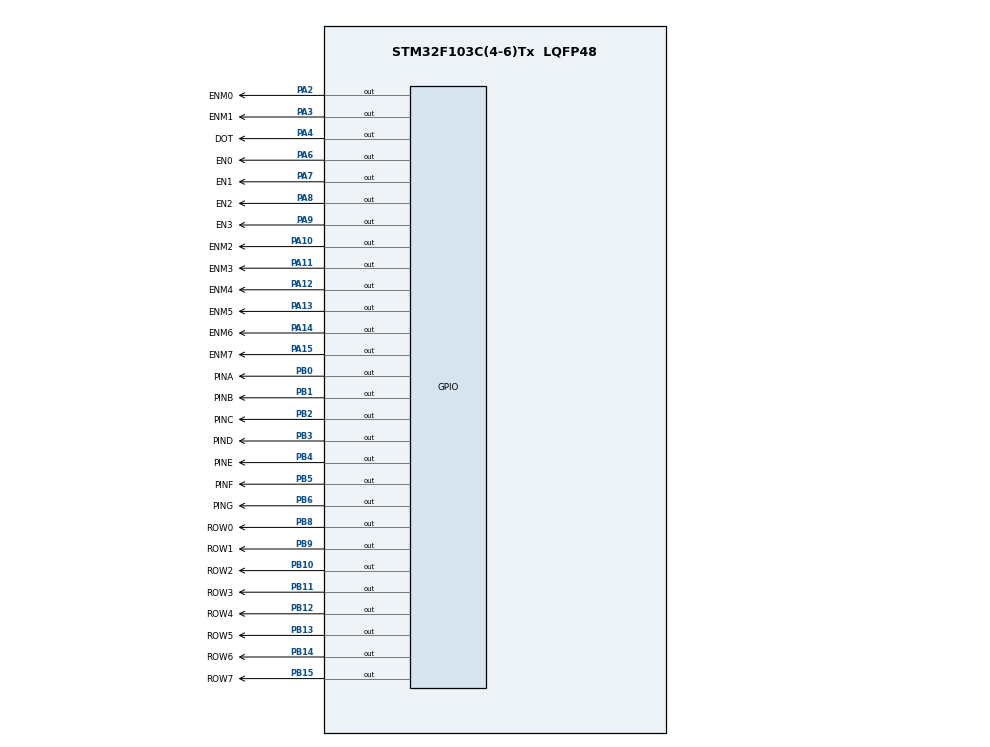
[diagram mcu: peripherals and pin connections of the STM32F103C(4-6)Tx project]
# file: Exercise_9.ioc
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Mcu.Family=STM32F1
Mcu.Name=STM32F103C(4-6)Tx
Mcu.Package=LQFP48
NVIC.PriorityGroup=NVIC_PRIORITYGROUP_4
NVIC.TIM2_IRQn=true\:0\:0\:false\:false\:true\:true\:true\:true
PA10.GPIO_Label=ENM2
PA10.Signal=GPIO_Output
PA11.GPIO_Label=ENM3
PA11.Signal=GPIO_Output
PA12.GPIO_Label=ENM4
PA12.Signal=GPIO_Output
PA13.GPIO_Label=ENM5
PA13.Signal=GPIO_Output
PA14.GPIO_Label=ENM6
PA14.Signal=GPIO_Output
PA15.GPIO_Label=ENM7
PA15.Signal=GPIO_Output
PA2.GPIO_Label=ENM0
PA2.Signal=GPIO_Output
PA3.GPIO_Label=ENM1
PA3.Signal=GPIO_Output
PA4.GPIO_Label=DOT
PA4.Signal=GPIO_Output
PA6.GPIO_Label=EN0
PA6.Signal=GPIO_Output
PA7.GPIO_Label=EN1
PA7.Signal=GPIO_Output
PA8.GPIO_Label=EN2
PA8.Signal=GPIO_Output
PA9.GPIO_Label=EN3
PA9.Signal=GPIO_Output
PB0.GPIO_Label=PINA
PB0.Signal=GPIO_Output
PB1.GPIO_Label=PINB
PB1.Signal=GPIO_Output
PB10.GPIO_Label=ROW2
PB10.Signal=GPIO_Output
PB11.GPIO_Label=ROW3
PB11.Signal=GPIO_Output
PB12.GPIO_Label=ROW4
PB12.Signal=GPIO_Output
PB13.GPIO_Label=ROW5
PB13.Signal=GPIO_Output
PB14.GPIO_Label=ROW6
PB14.Signal=GPIO_Output
PB15.GPIO_Label=ROW7
PB15.Signal=GPIO_Output
PB2.GPIO_Label=PINC
PB2.Signal=GPIO_Output
PB3.GPIO_Label=PIND
PB3.Signal=GPIO_Output
PB4.GPIO_Label=PINE
PB4.Signal=GPIO_Output
PB5.GPIO_Label=PINF
PB5.Signal=GPIO_Output
PB6.GPIO_Label=PING
PB6.Signal=GPIO_Output
PB8.GPIO_Label=ROW0
PB8.Signal=GPIO_Output
PB9.GPIO_Label=ROW1
PB9.Signal=GPIO_Output
ProjectManager.HeapSize=0x200
ProjectManager.StackSize=0x400
ProjectManager.TargetToolchain=STM32CubeIDE
RCC.APB1Freq_Value=8000000
RCC.APB2Freq_Value=8000000
TIM2.Period=9
TIM2.Prescaler=7999
VP_SYS_VS_ND.Mode=No_Debug
VP_TIM2_VS_ClockSourceINT.Mode=Internal
board=custom

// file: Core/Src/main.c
/* USER CODE BEGIN Header */
/**
  ******************************************************************************
  * @file           : main.c
  * @brief          : Main program body
  ******************************************************************************
  * @attention
  *
  * Copyright (c) 2024 STMicroelectronics.
  * All rights reserved.
  *
  * This software is licensed under terms that can be found in the LICENSE file
  * in the root directory of this software component.
  * If no LICENSE file comes with this software, it is provided AS-IS.
  *
  ******************************************************************************
  */
/* USER CODE END Header */
#include "main.h"

/* USER CODE BEGIN Includes */
#include "Blinky_7SEG.h"
/* USER CODE END Includes */

/* USER CODE BEGIN PD */
#define CLOCK 2
/* USER CODE END PD */

TIM_HandleTypeDef htim2;

void SystemClock_Config(void);
static void MX_GPIO_Init(void);
static void MX_TIM2_Init(void);

/* USER CODE BEGIN 0 */
uint8_t matrix[3][8] = {
	{
		0b00111100,
	    0b01100110,
	    0b01100110,
	    0b01111110,
	    0b01111110,
	    0b01100110,
	    0b01100110,
	    0b01100110
	},{
		0b01111100,
		0b10000100,
		0b10000100,
		0b01111100,
		0b01111100,
		0b10000100,
		0b10000100,
		0b01111100
	},{
		0b01111000,
		0b10000100,
		0b00000100,
		0b00000100,
		0b00000100,
		0b00000100,
		0b10000100,
		0b01111000
	}
};
void setRow(int index){
	HAL_GPIO_WritePin(ROW0_GPIO_Port, ROW0_Pin, SET);
	HAL_GPIO_WritePin(ROW1_GPIO_Port, ROW1_Pin, SET);
	HAL_GPIO_WritePin(ROW2_GPIO_Port, ROW2_Pin, SET);
	HAL_GPIO_WritePin(ROW3_GPIO_Port, ROW3_Pin, SET);
	HAL_GPIO_WritePin(ROW4_GPIO_Port, ROW4_Pin, SET);
	HAL_GPIO_WritePin(ROW5_GPIO_Port, ROW5_Pin, SET);
	HAL_GPIO_WritePin(ROW6_GPIO_Port, ROW6_Pin, SET);
	HAL_GPIO_WritePin(ROW7_GPIO_Port, ROW7_Pin, SET);
	switch (index){
	case 0:
		HAL_GPIO_WritePin(ROW0_GPIO_Port, ROW0_Pin, RESET);
		break;
	case 1:
		HAL_GPIO_WritePin(ROW1_GPIO_Port, ROW1_Pin, RESET);
		break;
	case 2:
		HAL_GPIO_WritePin(ROW2_GPIO_Port, ROW2_Pin, RESET);
		break;
	case 3:
		HAL_GPIO_WritePin(ROW3_GPIO_Port, ROW3_Pin, RESET);
		break;
	case 4:
		HAL_GPIO_WritePin(ROW4_GPIO_Port, ROW4_Pin, RESET);
		break;
	case 5:
		HAL_GPIO_WritePin(ROW5_GPIO_Port, ROW5_Pin, RESET);
		break;
	case 6:
		HAL_GPIO_WritePin(ROW6_GPIO_Port, ROW6_Pin, RESET);
		break;
	case 7:
		HAL_GPIO_WritePin(ROW7_GPIO_Port, ROW7_Pin, RESET);
		break;
	default:
		break;
	}
}

void setCol(uint8_t colData){
	HAL_GPIO_WritePin(ENM0_GPIO_Port, ENM0_Pin, (colData & 0x01) ? RESET : SET);
	HAL_GPIO_WritePin(ENM1_GPIO_Port, ENM1_Pin, (colData & 0x02) ? RESET : SET);
	HAL_GPIO_WritePin(ENM2_GPIO_Port, ENM2_Pin, (colData & 0x04) ? RESET : SET);
	HAL_GPIO_WritePin(ENM3_GPIO_Port, ENM3_Pin, (colData & 0x08) ? RESET : SET);
	HAL_GPIO_WritePin(ENM4_GPIO_Port, ENM4_Pin, (colData & 0x10) ? RESET : SET);
	HAL_GPIO_WritePin(ENM5_GPIO_Port, ENM5_Pin, (colData & 0x20) ? RESET : SET);
	HAL_GPIO_WritePin(ENM6_GPIO_Port, ENM6_Pin, (colData & 0x40) ? RESET : SET);
	HAL_GPIO_WritePin(ENM7_GPIO_Port, ENM7_Pin, (colData & 0x80) ? RESET : SET);
}
void updateLedMatrix(){
    static int k = 0, i = 0, j = 0;

    if(flag[0]){
        setTime(2, 0);
        if(flag[1]){
            setTime(2, 1);
            setRow(j);
            setCol(matrix[k][j] >> i);
            j = (j + 1) % 8;
            if(j == 0){
                i = (i + 1) % 8;
                if(i == 0){
                    k = (k + 1) % 3;
                }
            }
        }
    }
}
/* USER CODE END 0 */

int main(void)
{

  /* MCU Configuration--------------------------------------------------------*/

  /* Reset of all peripherals, Initializes the Flash interface and the Systick. */
  HAL_Init();

  /* Configure the system clock */
  SystemClock_Config();

  /* Initialize all configured peripherals */
  MX_GPIO_Init();
  MX_TIM2_Init();
  /* USER CODE BEGIN 2 */
  HAL_TIM_Base_Start_IT(&htim2);
  /* USER CODE END 2 */

  /* Infinite loop */
  /* USER CODE BEGIN WHILE */
  while (1)
  {
	  updateLedMatrix();
    /* USER CODE END WHILE */

  }
}

void SystemClock_Config(void)
{
  RCC_OscInitTypeDef RCC_OscInitStruct = {0};
  RCC_ClkInitTypeDef RCC_ClkInitStruct = {0};

  /** Initializes the RCC Oscillators according to the specified parameters
  * in the RCC_OscInitTypeDef structure.
  */
  RCC_OscInitStruct.OscillatorType = RCC_OSCILLATORTYPE_HSI;
  RCC_OscInitStruct.HSIState = RCC_HSI_ON;
  RCC_OscInitStruct.HSICalibrationValue = RCC_HSICALIBRATION_DEFAULT;
  RCC_OscInitStruct.PLL.PLLState = RCC_PLL_NONE;
  if (HAL_RCC_OscConfig(&RCC_OscInitStruct) != HAL_OK)
  {
    Error_Handler();
  }

  /** Initializes the CPU, AHB and APB buses clocks
  */
  RCC_ClkInitStruct.ClockType = RCC_CLOCKTYPE_HCLK|RCC_CLOCKTYPE_SYSCLK
                              |RCC_CLOCKTYPE_PCLK1|RCC_CLOCKTYPE_PCLK2;
  RCC_ClkInitStruct.SYSCLKSource = RCC_SYSCLKSOURCE_HSI;
  RCC_ClkInitStruct.AHBCLKDivider = RCC_SYSCLK_DIV1;
  RCC_ClkInitStruct.APB1CLKDivider = RCC_HCLK_DIV1;
  RCC_ClkInitStruct.APB2CLKDivider = RCC_HCLK_DIV1;

  if (HAL_RCC_ClockConfig(&RCC_ClkInitStruct, FLASH_LATENCY_0) != HAL_OK)
  {
    Error_Handler();
  }
}

static void MX_TIM2_Init(void)
{

  TIM_ClockConfigTypeDef sClockSourceConfig = {0};
  TIM_MasterConfigTypeDef sMasterConfig = {0};

  htim2.Instance = TIM2;
  htim2.Init.Prescaler = 7999;
  htim2.Init.CounterMode = TIM_COUNTERMODE_UP;
  htim2.Init.Period = 9;
  htim2.Init.ClockDivision = TIM_CLOCKDIVISION_DIV1;
  htim2.Init.AutoReloadPreload = TIM_AUTORELOAD_PRELOAD_DISABLE;
  if (HAL_TIM_Base_Init(&htim2) != HAL_OK)
  {
    Error_Handler();
  }
  sClockSourceConfig.ClockSource = TIM_CLOCKSOURCE_INTERNAL;
  if (HAL_TIM_ConfigClockSource(&htim2, &sClockSourceConfig) != HAL_OK)
  {
    Error_Handler();
  }
  sMasterConfig.MasterOutputTrigger = TIM_TRGO_RESET;
  sMasterConfig.MasterSlaveMode = TIM_MASTERSLAVEMODE_DISABLE;
  if (HAL_TIMEx_MasterConfigSynchronization(&htim2, &sMasterConfig) != HAL_OK)
  {
    Error_Handler();
  }

}

static void MX_GPIO_Init(void)
{
  GPIO_InitTypeDef GPIO_InitStruct = {0};

  /* GPIO Ports Clock Enable */
  __HAL_RCC_GPIOA_CLK_ENABLE();
  __HAL_RCC_GPIOB_CLK_ENABLE();

  /*Configure GPIO pin Output Level */
  HAL_GPIO_WritePin(GPIOA, ENM0_Pin|ENM1_Pin|DOT_Pin|EN0_Pin
                          |EN1_Pin|EN2_Pin|EN3_Pin|ENM2_Pin
                          |ENM3_Pin|ENM4_Pin|ENM5_Pin|ENM6_Pin
                          |ENM7_Pin, GPIO_PIN_RESET);

  /*Configure GPIO pin Output Level */
  HAL_GPIO_WritePin(GPIOB, PINA_Pin|PINB_Pin|PINC_Pin|ROW2_Pin
                          |ROW3_Pin|ROW4_Pin|ROW5_Pin|ROW6_Pin
                          |ROW7_Pin|PIND_Pin|PINE_Pin|PINF_Pin
                          |PING_Pin|ROW0_Pin|ROW1_Pin, GPIO_PIN_RESET);

  /*Configure GPIO pins : ENM0_Pin ENM1_Pin DOT_Pin EN0_Pin
                           EN1_Pin EN2_Pin EN3_Pin ENM2_Pin
                           ENM3_Pin ENM4_Pin ENM5_Pin ENM6_Pin
                           ENM7_Pin */
  GPIO_InitStruct.Pin = ENM0_Pin|ENM1_Pin|DOT_Pin|EN0_Pin
                          |EN1_Pin|EN2_Pin|EN3_Pin|ENM2_Pin
                          |ENM3_Pin|ENM4_Pin|ENM5_Pin|ENM6_Pin
                          |ENM7_Pin;
  GPIO_InitStruct.Mode = GPIO_MODE_OUTPUT_PP;
  GPIO_InitStruct.Pull = GPIO_NOPULL;
  GPIO_InitStruct.Speed = GPIO_SPEED_FREQ_LOW;
  HAL_GPIO_Init(GPIOA, &GPIO_InitStruct);

  /*Configure GPIO pins : PINA_Pin PINB_Pin PINC_Pin ROW2_Pin
                           ROW3_Pin ROW4_Pin ROW5_Pin ROW6_Pin
                           ROW7_Pin PIND_Pin PINE_Pin PINF_Pin
                           PING_Pin ROW0_Pin ROW1_Pin */
  GPIO_InitStruct.Pin = PINA_Pin|PINB_Pin|PINC_Pin|ROW2_Pin
                          |ROW3_Pin|ROW4_Pin|ROW5_Pin|ROW6_Pin
                          |ROW7_Pin|PIND_Pin|PINE_Pin|PINF_Pin
                          |PING_Pin|ROW0_Pin|ROW1_Pin;
  GPIO_InitStruct.Mode = GPIO_MODE_OUTPUT_PP;
  GPIO_InitStruct.Pull = GPIO_NOPULL;
  GPIO_InitStruct.Speed = GPIO_SPEED_FREQ_LOW;
  HAL_GPIO_Init(GPIOB, &GPIO_InitStruct);

}

/* USER CODE BEGIN 4 */
void  HAL_TIM_PeriodElapsedCallback(TIM_HandleTypeDef *htim){
    runTime();
}
/* USER CODE END 4 */

void Error_Handler(void)
{
  __disable_irq();
  while (1)
  {
  }
}
